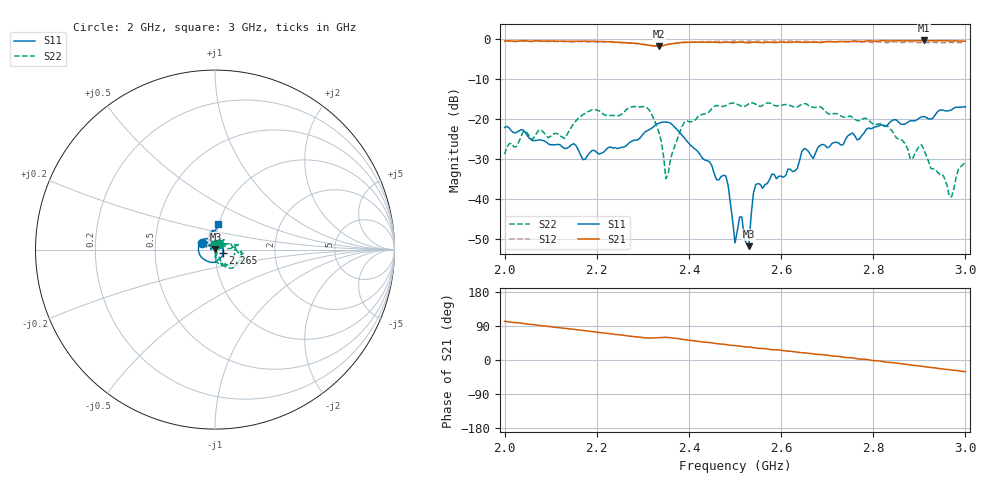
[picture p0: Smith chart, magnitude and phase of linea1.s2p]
# Hz S DB R 50
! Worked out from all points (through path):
!   201 points, 2 GHz to 3 GHz, reference 50 ohm
!   highest |S21| = -0.26 dB at 2.91 GHz (marker M1); lowest = -1.7 dB at 2.335 GHz (marker M2)
!   group delay of S21, straight-line fit = 357 ps
!   lowest |S11| = -51.7 dB at 2.53 GHz (marker M3), VSWR 1.01, Z = 50.2 + j0.118 ohm
!   |S11| at or under -10 dB: start of sweep to end of sweep
!   |S22| runs from -39.3 to -15.8 dB; largest |S21 - S12| = 0.068
!   S11 on the Smith chart (normalised r, x): 2 GHz: 0.86, +0.06; 2.265 GHz: 1.09, -0.04; 3 GHz: 0.99, +0.29
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2e9  -22.00 154.5  -0.42 102.0  -0.40 101.0  -28.72 55.2
2.045e9  -23.24 138.8  -0.34 95.4  -0.51 94.4  -22.87 73.7
2.13e9  -27.26 93.4  -0.44 83.9  -0.56 83.6  -24.76 16.5
2.17e9  -30.06 59.9  -0.44 78.0  -0.62 77.6  -18.80 14.1
2.265e9  -26.50 -22.9  -0.83 63.9  -0.91 64.1  -17.44 -28.8
2.31e9  -22.81 -99.6  -1.41 58.2  -1.33 58.7  -17.17 -48.8
2.335e9  -20.94 -161.8  -1.67 58.9  -1.62 60.1  -23.28 -82.9
2.35e9  -20.70 164.1  -1.37 59.8  -1.39 60.3  -34.80 -47.7
2.39e9  -24.59 115.2  -0.76 53.8  -0.67 54.5  -20.75 23.8
2.48e9  -34.12 41.9  -0.68 40.8  -0.51 40.8  -16.56 -8.0
2.5e9  -50.89 38.4  -0.79 38.0  -0.42 37.8  -15.97 -8.1
2.515e9  -44.39 24.2  -0.68 35.6  -0.47 35.8  -16.73 -13.4
2.53e9  -51.69 26.8  -0.84 34.2  -0.42 33.3  -16.07 -17.2
2.545e9  -36.27 95.6  -0.68 31.6  -0.46 31.1  -16.22 -16.1
2.63e9  -32.89 159.5  -0.63 21.5  -0.45 19.0  -17.00 -35.9
2.65e9  -27.30 137.4  -0.73 18.9  -0.47 16.3  -16.07 -35.4
2.67e9  -29.76 130.6  -0.68 16.0  -0.53 13.6  -16.98 -38.3
2.835e9  -20.82 104.0  -0.39 -6.2  -0.76 -8.1  -22.21 -62.3
2.88e9  -20.35 102.1  -0.30 -13.1  -0.65 -14.5  -29.65 -73.3
2.91e9  -19.26 97.0  -0.26 -17.5  -0.76 -18.4  -27.57 -76.9
2.965e9  -17.81 87.5  -0.37 -25.6  -0.74 -24.9  -39.25 -62.9
3e9  -16.84 83.3  -0.42 -30.9  -0.76 -29.8  -30.67 98.7
